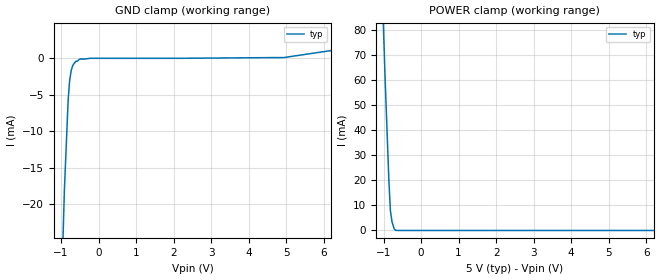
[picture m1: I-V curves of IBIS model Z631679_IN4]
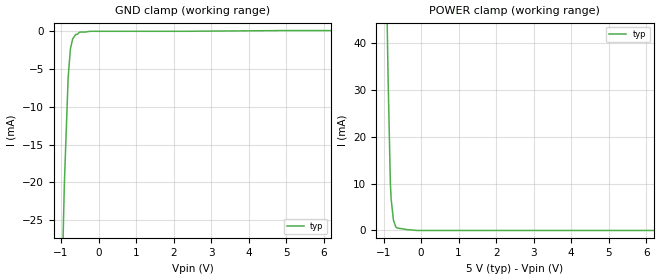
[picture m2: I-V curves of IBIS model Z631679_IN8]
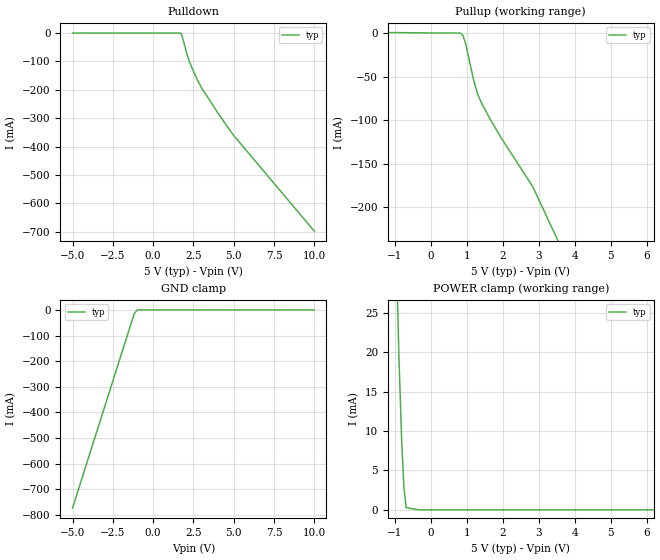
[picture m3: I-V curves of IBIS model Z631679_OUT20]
| YOU ARE ONLY AUTHORIZED TO USE THIS SOFTWARE
| ACCORDING TO LICENSOR'S LICENSE RESTRICTIONS.
[IBIS Ver] 3.1
[File Name] mc100lve222fa_50.ibs
[File Rev] 2.0
[Source] Measured and created by ICX Technology
[Date] Wednesday 11/22/00 2:13:51 PM
[Copyright]
| (C) COPYRIGHT 1993-2000
| MENTOR GRAPHICS CORPORATION
| ICX STANDARD LIBRARY, ICX PROJECT MODELING,
| ICX CUSTOM MODELING, ICX VENDOR MODEL
| ALL RIGHTS RESERVED.
| THE FOLLOWING ARE TRADEMARKS OR SERVICE MARKS OF
| MENTOR GRAPHICS CORPORATION:ICX (R), ICX STANDARD
| LIBRARY(R), ICX PROJECT MODELING(R), ICX CUSTOM
| MODELING(R), qualityIBIS(TM), MODELVIEWER(TM),
| AND MODELEDITOR(TM)
| ALL COPIES OF SOFTWARE, INCLUDING BUT NOT LIMITED TO
| ANY MODIFICATIONS, ENHANCEMENTS OR DERIVATIVE WORKS,
| MUST CONTAIN ALL MENTOR GRAPHICS CORPORATION'S
| NOTICES AND LEGENDS, INCLUDING THOSE EMBEDDED IN
| SOFTWARE AND THOSE AFFIXED TO SOFTWARE MEDIUM
| AND CONTAINER, AS RECEIVED FROM MENTOR GRAPHICS
| CORPORATION.
|  ZAP Model Builder 2.8
[Component] MC100LVE222FA_50
[Manufacturer] OnSemiconductor
[Package]
| variable   typ   min   max
R_pkg  .179ohms NA NA
L_pkg  4.118nH NA NA
C_pkg  .592pF NA NA
[Pin] signal_name  model_name  R_pin  L_pin C_pin
1 VCC POWER .185 4.54n .65p
2 MR Z631679_IN4 .181 4.27n .62p
3 FSELA Z631679_IN4 .18 4.17n .6p
4 FSELB Z631679_IN4 .178 4.04n .58p
5 CLK0 Z631679_IN8 .176 3.92n .56p
6 _CLK0 Z631679_IN8 .176 3.89n .56p
7 CLK_SEL Z631679_IN4 .175 3.88n .55p
8 CLK1 Z631679_IN8 .176 3.89n .56p
9 _CLK1 Z631679_IN8 .176 3.92n .56p
10 VBB POWER .178 4.04n .58p
11 FSELC Z631679_IN4 .18 4.17n .6p
12 FSELD Z631679_IN4 .181 4.27n .62p
13 VEE POWER .185 4.54n .65p
14 VCCO POWER .185 4.54n .65p
15 _QD5 Z631679_OUT45 .181 4.27n .62p
16 QD5 Z631679_OUT20 .18 4.17n .6p
17 _QD4 Z631679_OUT45 .178 4.04n .58p
18 QD4 Z631679_OUT20 .176 3.92n .56p
19 _QD3 Z631679_OUT45 .176 3.89n .56p
20 QD3 Z631679_OUT20 .175 3.88n .55p
21 _QD2 Z631679_OUT45 .176 3.89n .56p
22 QD2 Z631679_OUT20 .176 3.92n .56p
23 _QD1 Z631679_OUT45 .178 4.04n .58p
24 QD1 Z631679_OUT20 .18 4.17n .6p
25 _QD0 Z631679_OUT45 .181 4.27n .62p
26 QD0 Z631679_OUT20 .185 4.54n .65p
27 VCCO POWER .185 4.54n .65p
28 NC NC .181 4.27n .62p
29 NC NC .18 4.17n .6p
30 VCCO POWER .178 4.04n .58p
31 _QC3 Z631679_OUT45 .176 3.92n .56p
32 QC3 Z631679_OUT20 .176 3.89n .56p
33 _QC2 Z631679_OUT45 .175 3.88n .55p
34 QC2 Z631679_OUT20 .176 3.89n .56p
35 _QC1 Z631679_OUT45 .176 3.92n .56p
36 QC1 Z631679_OUT20 .178 4.04n .58p
37 _QC0 Z631679_OUT45 .18 4.17n .6p
38 QC0 Z631679_OUT20 .181 4.27n .62p
39 VCCO POWER .185 4.54n .65p
40 VCCO POWER .185 4.54n .65p
41 _QB2 Z631679_OUT45 .181 4.27n .62p
42 QB2 Z631679_OUT20 .18 4.17n .6p
43 _QB1 Z631679_OUT45 .178 4.04n .58p
44 QB1 Z631679_OUT20 .176 3.92n .56p
45 _QB0 Z631679_OUT45 .176 3.89n .56p
46 QB0 Z631679_OUT20 .175 3.88n .55p
47 VCCO POWER .176 3.89n .56p
48 _QA1 Z631679_OUT45 .176 3.92n .56p
49 QA1 Z631679_OUT20 .178 4.04n .58p
50 _QA0 Z631679_OUT45 .18 4.17n .6p
51 QA0 Z631679_OUT20 .181 4.27n .62p
52 VCCO POWER .185 4.54n .65p
[Diff Pin] inv_pin vdiff tdelay_typ tdelay_min tdelay_max
16 15 NA NA NA NA
18 17 NA NA NA NA
20 19 NA NA NA NA
22 21 NA NA NA NA
24 23 NA NA NA NA
26 25 NA NA NA NA
32 31 NA NA NA NA
34 33 NA NA NA NA
36 35 NA NA NA NA
38 37 NA NA NA NA
42 41 NA NA NA NA
44 43 NA NA NA NA
46 45 NA NA NA NA
49 48 NA NA NA NA
5 6 NA NA NA NA
51 50 NA NA NA NA
8 9 NA NA NA NA
| Models and submodels in the file (4): Z631679_IN4 (Input_ECL), Z631679_IN8 (Input_ECL), Z631679_OUT20 (Output_ECL), Z631679_OUT45 (Output_ECL)
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| (C) COPYRIGHT 1993-2000
| MENTOR GRAPHICS CORPORATION
| ICX STANDARD LIBRARY, ICX PROJECT MODELING,
| ICX CUSTOM MODELING, ICX VENDOR MODEL
| ALL RIGHTS RESERVED.
| THE FOLLOWING ARE TRADEMARKS OR SERVICE MARKS OF
| MENTOR GRAPHICS CORPORATION:ICX (R), ICX STANDARD
| LIBRARY(R), ICX PROJECT MODELING(R), ICX CUSTOM
| MODELING(R), qualityIBIS(TM), MODELVIEWER(TM),
| AND MODELEDITOR(TM)
| ALL COPIES OF SOFTWARE, INCLUDING BUT NOT LIMITED TO
| ANY MODIFICATIONS, ENHANCEMENTS OR DERIVATIVE WORKS,
| MUST CONTAIN ALL MENTOR GRAPHICS CORPORATION'S
| NOTICES AND LEGENDS, INCLUDING THOSE EMBEDDED IN
| SOFTWARE AND THOSE AFFIXED TO SOFTWARE MEDIUM
| AND CONTAINER, AS RECEIVED FROM MENTOR GRAPHICS
| CORPORATION.
| Model Application Version 1.89 2/18/99.
[Model] Z631679_IN4
Model_type Input_ECL
Vinl = 3.525V
Vinh = 3.835V
C_comp 3.000pF NA NA
| variable typ   min   max
[Voltage Range] 5.000V NA NA
[GND Clamp Reference] 0.000V NA NA
[POWER Clamp Reference] 5.000V NA NA
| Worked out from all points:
|   GND clamp passes 1 mA (typ) near -0.69 V on its own axis
|   POWER clamp passes 1 mA (typ) near -0.72 V on its own axis
[GND Clamp]
-5V       -942.9mA   NA         NA
-1.034V   -40.7mA    NA         NA
-912mV    -18.3mA    NA         NA
-811mV    -5.8mA     NA         NA
-771mV    -3.1mA     NA         NA
-730mV    -1.7mA     NA         NA
-689mV    -1mA       NA         NA
-603.2mV  -400uA     NA         NA
-565.1mV  -400uA     NA         NA
-491.8mV  -100uA     NA         NA
4.935V    100uA      NA         NA
10V       3.951mA    NA         NA
[POWER Clamp]
-5V       1.965A     NA         NA
-960mV    61.42mA    NA         NA
-858mV    20.1mA     NA         NA
-818mV    8.129mA    NA         NA
-777mV    3.66mA     NA         NA
-716mV    606.5uA    NA         NA
-676mV    36.88uA    NA         NA
-600.9mV  0A         NA         NA
10V       0A         NA         NA
| (C) COPYRIGHT 1993-2000
| MENTOR GRAPHICS CORPORATION
| ICX STANDARD LIBRARY, ICX PROJECT MODELING,
| ICX CUSTOM MODELING, ICX VENDOR MODEL
| ALL RIGHTS RESERVED.
| THE FOLLOWING ARE TRADEMARKS OR SERVICE MARKS OF
| MENTOR GRAPHICS CORPORATION:ICX (R), ICX STANDARD
| LIBRARY(R), ICX PROJECT MODELING(R), ICX CUSTOM
| MODELING(R), qualityIBIS(TM), MODELVIEWER(TM),
| AND MODELEDITOR(TM)
| ALL COPIES OF SOFTWARE, INCLUDING BUT NOT LIMITED TO
| ANY MODIFICATIONS, ENHANCEMENTS OR DERIVATIVE WORKS,
| MUST CONTAIN ALL MENTOR GRAPHICS CORPORATION'S
| NOTICES AND LEGENDS, INCLUDING THOSE EMBEDDED IN
| SOFTWARE AND THOSE AFFIXED TO SOFTWARE MEDIUM
| AND CONTAINER, AS RECEIVED FROM MENTOR GRAPHICS
| CORPORATION.
| Model Application Version 1.89 2/18/99.
[Model] Z631679_IN8
Model_type Input_ECL
Vinl = 3.525V
Vinh = 3.835V
C_comp 3.000pF NA NA
| variable typ   min   max
[Voltage Range] 5.000V NA NA
[GND Clamp Reference] 0.000V NA NA
[POWER Clamp Reference] 5.000V NA NA
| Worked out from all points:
|   GND clamp passes 1 mA (typ) near -0.69 V on its own axis
|   POWER clamp passes 1 mA (typ) near -0.68 V on its own axis
[GND Clamp]
-5V       -1.134A    NA         NA
-1.034V   -46.4mA    NA         NA
-912mV    -20.3mA    NA         NA
-811mV    -6.2mA     NA         NA
-750mV    -2.3mA     NA         NA
-689mV    -1mA       NA         NA
-603.2mV  -400uA     NA         NA
-565.1mV  -400uA     NA         NA
-491.8mV  -100uA     NA         NA
-228.2mV  0A         NA         NA
4.946V    100uA      NA         NA
10V       100uA      NA         NA
[POWER Clamp]
-5V       2.018A     NA         NA
-879mV    32.8mA     NA         NA
-818mV    10mA       NA         NA
-797mV    6.7mA      NA         NA
-736mV    2.2mA      NA         NA
-676mV    800uA      NA         NA
-635mV    500uA      NA         NA
-115mV    0A         NA         NA
10V       0A         NA         NA
| (C) COPYRIGHT 1993-2000
| MENTOR GRAPHICS CORPORATION
| ICX STANDARD LIBRARY, ICX PROJECT MODELING,
| ICX CUSTOM MODELING, ICX VENDOR MODEL
| ALL RIGHTS RESERVED.
| THE FOLLOWING ARE TRADEMARKS OR SERVICE MARKS OF
| MENTOR GRAPHICS CORPORATION:ICX (R), ICX STANDARD
| LIBRARY(R), ICX PROJECT MODELING(R), ICX CUSTOM
| MODELING(R), qualityIBIS(TM), MODELVIEWER(TM),
| AND MODELEDITOR(TM)
| ALL COPIES OF SOFTWARE, INCLUDING BUT NOT LIMITED TO
| ANY MODIFICATIONS, ENHANCEMENTS OR DERIVATIVE WORKS,
| MUST CONTAIN ALL MENTOR GRAPHICS CORPORATION'S
| NOTICES AND LEGENDS, INCLUDING THOSE EMBEDDED IN
| SOFTWARE AND THOSE AFFIXED TO SOFTWARE MEDIUM
| AND CONTAINER, AS RECEIVED FROM MENTOR GRAPHICS
| CORPORATION.
| Model Application Version 1.89 2/18/99.
[Model] Z631679_OUT20
Model_type Output_ECL
Vref=3.000V
Rref=50.00ohms
Cref=0.000F
Vmeas=3.677V
C_comp 8.000pF NA NA
| variable typ   min   max
[Voltage Range] 5.000V NA NA
[POWER Clamp Reference] 5.000V NA NA
[Pullup Reference] 5.000V NA NA
[Pulldown Reference] 5.000V NA NA
[GND Clamp Reference] 0.000V NA NA
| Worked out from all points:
|   GND clamp passes 1 mA (typ) near -0.99 V on its own axis
|   POWER clamp passes 1 mA (typ) near -0.71 V on its own axis
[GND Clamp]
-5V       -772.6mA   NA         NA
-1.176V   -15.44mA   NA         NA
-980mV    0A         NA         NA
10V       0A         NA         NA
[Pulldown]
-5V       0A         NA         NA
1.696V    -900uA     NA         NA
1.757V    -4.8mA     NA         NA
1.838V    -18.2mA    NA         NA
2.101V    -74.4mA    NA         NA
2.243V    -99mA      NA         NA
2.77V     -168.2mA   NA         NA
3.054V    -197.9mA   NA         NA
3.966V    -276.9mA   NA         NA
4.98V     -359.4mA   NA         NA
10V       -698mA     NA         NA
[Pullup]
-5V       2.13mA     NA         NA
809mV     -200uA     NA         NA
890mV     -2.8mA     NA         NA
971mV     -13.2mA    NA         NA
1.194V    -55.5mA    NA         NA
1.295V    -69.6mA    NA         NA
1.397V    -79.7mA    NA         NA
1.64V     -98.5mA    NA         NA
1.964V    -121.1mA   NA         NA
2.836V    -176.8mA   NA         NA
10V       -812.2mA   NA         NA
[POWER Clamp]
-5V       1.91A      NA         NA
-1.137V   74.7mA     NA         NA
-1.036V   46.25mA    NA         NA
-894mV    19.71mA    NA         NA
-813mV    8.54mA     NA         NA
-752mV    2.766mA    NA         NA
-691mV    291.5uA    NA         NA
-345.5mV  0A         NA         NA
10V       0A         NA         NA
[Ramp]
| variable typ min max
dV/dt_r 291.7m/308.8p NA NA
dV/dt_f 291.7m/289.2p NA NA
R_load = 50.00Ohms
